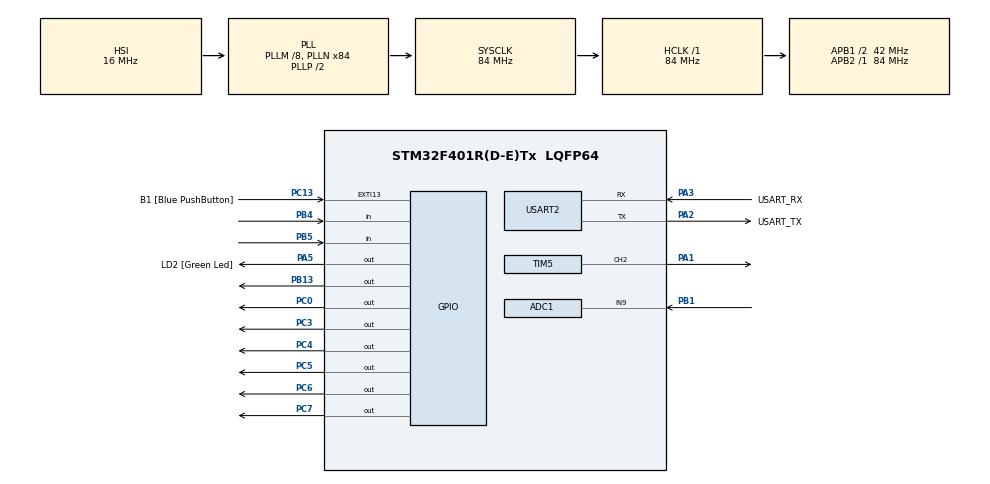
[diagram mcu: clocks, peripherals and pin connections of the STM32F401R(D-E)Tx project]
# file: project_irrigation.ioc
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ADC1.Channel-5\#ChannelRegularConversion=ADC_CHANNEL_9
ADC1.NbrOfConversionFlag=1
ADC1.Rank-5\#ChannelRegularConversion=1
ADC1.SamplingTime-5\#ChannelRegularConversion=ADC_SAMPLETIME_3CYCLES
ADC1.master=1
Mcu.Family=STM32F4
Mcu.Name=STM32F401R(D-E)Tx
Mcu.Package=LQFP64
NVIC.PriorityGroup=NVIC_PRIORITYGROUP_4
PA1.Signal=S_TIM5_CH2
PA13.GPIO_Label=TMS
PA13.Mode=Serial_Wire
PA13.Signal=SYS_JTMS-SWDIO
PA14.GPIO_Label=TCK
PA14.Mode=Serial_Wire
PA14.Signal=SYS_JTCK-SWCLK
PA2.GPIO_Label=USART_TX
PA2.GPIO_Mode=GPIO_MODE_AF_PP
PA2.GPIO_PuPd=GPIO_NOPULL
PA2.GPIO_Speed=GPIO_SPEED_FREQ_LOW
PA2.Mode=Asynchronous
PA2.Signal=USART2_TX
PA3.GPIO_Label=USART_RX
PA3.GPIO_Mode=GPIO_MODE_AF_PP
PA3.GPIO_PuPd=GPIO_NOPULL
PA3.GPIO_Speed=GPIO_SPEED_FREQ_LOW
PA3.Mode=Asynchronous
PA3.Signal=USART2_RX
PA5.GPIO_Label=LD2 [Green Led]
PA5.GPIO_Mode=GPIO_MODE_OUTPUT_PP
PA5.GPIO_PuPd=GPIO_NOPULL
PA5.GPIO_Speed=GPIO_SPEED_FREQ_LOW
PA5.Signal=GPIO_Output
PB1.Signal=ADCx_IN9
PB13.Signal=GPIO_Output
PB3.Signal=SYS_JTDO-SWO
PB4.Signal=GPIO_Input
PB5.Signal=GPIO_Input
PC0.GPIO_ModeDefaultOutputPP=GPIO_MODE_OUTPUT_PP
PC0.PinState=GPIO_PIN_RESET
PC0.Signal=GPIO_Output
PC13-ANTI_TAMP.GPIO_Label=B1 [Blue PushButton]
PC13-ANTI_TAMP.GPIO_ModeDefaultEXTI=GPIO_MODE_IT_FALLING
PC13-ANTI_TAMP.GPIO_PuPd=GPIO_NOPULL
PC13-ANTI_TAMP.Signal=GPXTI13
PC14-OSC32_IN.Mode=LSE-External-Oscillator
PC14-OSC32_IN.Signal=RCC_OSC32_IN
PC15-OSC32_OUT.Mode=LSE-External-Oscillator
PC15-OSC32_OUT.Signal=RCC_OSC32_OUT
PC3.Signal=GPIO_Output
PC4.Signal=GPIO_Output
PC5.Signal=GPIO_Output
PC6.Signal=GPIO_Output
PC7.Signal=GPIO_Output
PH0\ -\ OSC_IN.Mode=HSE-External-Clock-Source
PH0\ -\ OSC_IN.Signal=RCC_OSC_IN
PH1\ -\ OSC_OUT.Mode=HSE-External-Clock-Source
PH1\ -\ OSC_OUT.Signal=RCC_OSC_OUT
ProjectManager.HeapSize=0x200
ProjectManager.StackSize=0x400
ProjectManager.TargetToolchain=STM32CubeIDE
RCC.48MHZClocksFreq_Value=24000000
RCC.AHBFreq_Value=84000000
RCC.APB1CLKDivider=RCC_HCLK_DIV2
RCC.APB1Freq_Value=42000000
RCC.APB1TimFreq_Value=84000000
RCC.APB2Freq_Value=84000000
RCC.APB2TimFreq_Value=84000000
RCC.CortexFreq_Value=84000000
RCC.HCLKFreq_Value=84000000
RCC.HSE_VALUE=8000000
RCC.HSI_VALUE=16000000
RCC.PLLM=8
RCC.PLLN=84
RCC.PLLQ=7
RCC.SYSCLKFreq_VALUE=84000000
RCC.SYSCLKSource=RCC_SYSCLKSOURCE_PLLCLK
RCC.VCOOutputFreq_Value=168000000
SH.ADCx_IN9.0=ADC1_IN9,IN9
SH.S_TIM5_CH2.0=TIM5_CH2,PWM Generation2 CH2
TIM2.Period=100000-1
TIM2.Prescaler=8400-1
TIM5.Channel-PWM\ Generation2\ CH2=TIM_CHANNEL_2
TIM5.Period=10000-1
TIM5.Prescaler=84-1
USART2.VirtualMode=VM_ASYNC
VP_TIM2_VS_ClockSourceINT.Mode=Internal
VP_TIM5_VS_ClockSourceINT.Mode=Internal
board=NUCLEO-F401RE

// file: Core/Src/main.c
/* USER CODE BEGIN Header */
/**
  ******************************************************************************
  * @file           : main.c
  * @brief          : Main program body
  ******************************************************************************
  * @attention
  *
  * Copyright (c) 2022 STMicroelectronics.
  * All rights reserved.
  *
  * This software is licensed under terms that can be found in the LICENSE file
  * in the root directory of this software component.
  * If no LICENSE file comes with this software, it is provided AS-IS.
  *
  ******************************************************************************
  */
/* USER CODE END Header */
#include "main.h"

/* USER CODE BEGIN PD */

//Primary Functions
uint16_t Request_Moisture_Data( void );
void Average_Moisture_Data( double*, char, uint16_t );
void Adjustor_Change( const uint16_t, char *, const char );
uint16_t Request_Moisture_Threshold( const char led_pin );
char Moisture_Level_Vs_Threshold( uint16_t, uint16_t );
void Open_Motor();

//Helper Functions
void Set_LED_Pin( char, GPIO_PinState );
char Increment_Timer( char );

/* USER CODE END PD */

/* USER CODE BEGIN PM */

#define ADD_LED(a) ((a < 4) ? 1 : 0)
#define MINUS_LED(a) ((a > 0) ? -1 : 0)

#define TIME_CHECK(a,b,c) (a >= b && a < c)

/* USER CODE END PM */

ADC_HandleTypeDef hadc1;

TIM_HandleTypeDef htim2;
TIM_HandleTypeDef htim5;

UART_HandleTypeDef huart2;

/* USER CODE BEGIN PV */

/* 	Maximum available total moisture value to calculate moisture percentage
 	Calculated by (Max Volt / Nominal Reference) * 4092
 	Pin out Max Voltage, through testing, is about 2.2 volts
 	Nominal Reference Voltage is around 2.0~2.5 */
const short MAX_MOISTURE = 2700;

//	Calculates and stores how much time has passed
uint32_t time_passed = 0;
//	Holds a value between [0, 240): unit is 0.5s
short time_count = 0;

// 	Represents button presses using boolean values.
char b_left_on = 0;
char b_right_on = 0;
// 	Represents what LED should be on for moisture sensor.
char led_light = 2;

// 	Used to calculate average in O(1) memory
char average_size = 0;
short average_tick = 0;
double soil_moisture = 0;

// 	A boolean-type value to test if the MCU is polling the moisture sensor
char is_polling = 0;

/* USER CODE END PV */

void SystemClock_Config(void);
static void MX_GPIO_Init(void);
static void MX_USART2_UART_Init(void);
static void MX_TIM2_Init(void);
static void MX_ADC1_Init(void);
static void MX_TIM5_Init(void);

/* USER CODE BEGIN 0 */

/** @function	Request_Moisture_Data
 *
 * 	@brief	Uses ADC driver to poll and return the value of the ADC IN9 pin
 *
 * 	@return ADC IN9 pin input
 */
uint16_t Request_Moisture_Data()
{
	HAL_ADC_Start( &hadc1 );
	HAL_ADC_PollForConversion( &hadc1, HAL_MAX_DELAY );
	return HAL_ADC_GetValue( &hadc1 );
}

/** @function	Average_Moisture_Data
 *
 * 	@brief	Updates the average parameter given it's current size and new value
 * 			without storing into an array
 *
 *  @param[in/out]	average 	Average value being manipulated
 *	@param[in]		size		Number of variables currently averaged
 *	@param[in]		newVal		New value to be added to average
 *
 *	@retval None
 */
void Average_Moisture_Data( double *average, char size, uint16_t newVal )
{
	(*average) += (newVal - (*average)) / size;
}

/** @function	Adjustor_Change
 *
 * 	@brief	Generalizes the code to turn on and off LED values based on button
 * 			inputs by passing certain variables through pointers.
 *
 *  @param[in]		BUTTON_PIN 	Holds the GPIO pin of the button
 *	@param[in/out]	b_on		Used to only activate code on button's first press
 *	@param[in]		increase	Determines if led_light is increased or deceased.
 *
 *	@retval None
 */
void Adjustor_Change( const uint16_t BUTTON_PIN, char *b_on, const char increase )
{
	//	If button is being pressed for the first time,
	if( !HAL_GPIO_ReadPin( GPIOB, BUTTON_PIN ) && !(*b_on) )
	{
		//	Set button as being pressed
		*b_on = 1;

		//	Reset current pin
		Set_LED_Pin( led_light, GPIO_PIN_RESET );

		//	Change led_light according to increase variable
		led_light += (increase ? ADD_LED( led_light ) : MINUS_LED( led_light ));

		//	Sets new led pin on
		Set_LED_Pin( led_light, GPIO_PIN_SET );
	}
	//	If button is released, set b_on as being off.
	else if( HAL_GPIO_ReadPin( GPIOB, BUTTON_PIN ) )
	{
		*b_on = 0;
	}
}

/** @function	Request_Moisture_Threshold
 *
 * 	@brief	Given the LED pin representative number (from led_light)
 * 			returns the corresponding moisture value to compare with
 *
 *  @param	led_pin		What LED pin is on
 *
 *	@retval Exact moisture threshold determined by LED_Pin
 */
uint16_t Request_Moisture_Threshold( const char led_pin )
{
	return MAX_MOISTURE*(2 + led_pin)/10;
}

/** @function	Moisture_Level_Vs_Threshold
 *
 * 	@brief	Compares moisture level and threshold and returns a value to
 * 			give for that.
 *
 *  @param 	moisture	The average moisture value from the moisture sensor
 *	@param	threshold	The threshold value that the LED currently represents
 *
 *	@retval Boolean value that equals if moisture is below threshold
 */
char Moisture_Level_Vs_Threshold( uint16_t moisture, uint16_t threshold )
{
	return (char)((int)moisture < threshold );
}

/** @function	Set_Motor
 *
 * 	@brief	Sets the motor at either 0 or 180 degrees given the open
 * 			variable. Uses the PWM signal generator to achieve this.
 *
 * 			Prescaler: 168-1 	=> 	84 000 000 / 168 = 500 000
 * 			Frequency: 10000-1 	=> 	500 000 / 10000 = 50hz
 * 			[500, 1000]
 *
 *  @param	open 	Determines if the motor should be on of off.
 *
 *	@retval None
 */
void Set_Motor( char open )
{
	if( open )
	{
		__HAL_TIM_SET_COMPARE( &htim5, TIM_CHANNEL_2, 2100 );
	}
	else
	{
		__HAL_TIM_SET_COMPARE( &htim5, TIM_CHANNEL_2, 500 );
	}
}

/** @function	Set_LED_Pin
 *
 * 	@brief	Given a value from [0, 4], sets the representing LED pin
 * 			to the given pin state.
 *
 *  @param	led_pin 	Holds a numerical representation of LED pins
 *	@param	state		The new state of the led_pin
 *
 *	@retval None
 */
void Set_LED_Pin( const char led_pin, GPIO_PinState state )
{
	//	Throws error if value (led_pin) is not in correct range
	assert_param( led_pin >= 0 && led_pin <= 4 );

	switch( led_pin ) {
		case 0:
			HAL_GPIO_WritePin( GPIOC, GPIO_PIN_7, state );
			break;
		case 1:
			HAL_GPIO_WritePin( GPIOC, GPIO_PIN_6, state );
			break;
		case 2:
			HAL_GPIO_WritePin( GPIOC, GPIO_PIN_5, state );
			break;
		case 3:
			HAL_GPIO_WritePin( GPIOC, GPIO_PIN_4, state );
			break;
		case 4:
			HAL_GPIO_WritePin( GPIOC, GPIO_PIN_3, state );
			break;
	}
}

/** @function	Increment_Timer
 *
 * 	@brief	Uses TIM to determine when to increment the timer_count
 * 			variable every 0.5 seconds.
 *
 *  @param	poll 	Used to flicker on-board LED when polling occurs
 *
 *	@retval 1 if 0.5 seconds have passed, 0 if it hasn't.
 */
char Increment_Timer( char poll ){
	if( __HAL_TIM_GET_COUNTER( &htim2 ) - time_passed >= 5000)
	{
		if( poll )
		{
			HAL_GPIO_TogglePin( GPIOA, GPIO_PIN_5 );
		}

		//	Resets time_passed if it goes beyond the TIM's full period
		time_passed = __HAL_TIM_GET_COUNTER( &htim2 );
		if( time_passed >= htim2.Init.Period )
		{
			time_passed = 0;
		}
		return 1;
	}
	return 0;
}

/* USER CODE END 0 */

int main(void)
{

  /* MCU Configuration--------------------------------------------------------*/

  /* Reset of all peripherals, Initializes the Flash interface and the Systick. */
  HAL_Init();

  /* Configure the system clock */
  SystemClock_Config();

  /* Initialize all configured peripherals */
  MX_GPIO_Init();
  MX_USART2_UART_Init();
  MX_TIM2_Init();
  MX_ADC1_Init();
  MX_TIM5_Init();
  /* USER CODE BEGIN 2 */

  //	Set default light to be set
  Set_LED_Pin( led_light, GPIO_PIN_SET );

  //	Timer start
  HAL_TIM_Base_Start( &htim2 );

  //	Start PWM signal creation
  HAL_TIM_PWM_Start( &htim5, TIM_CHANNEL_2 );
  Set_Motor( 0 );

  //	Get current time
  time_passed = __HAL_TIM_GET_COUNTER( &htim2 );

  /* USER CODE END 2 */

  /* Infinite loop */
  /* USER CODE BEGIN WHILE */
  while (1)
  {
	  //	Checks if buttons are being pressed and changes on LED pin
	  Adjustor_Change( GPIO_PIN_4, &b_left_on, 0 );
	  Adjustor_Change( GPIO_PIN_5, &b_right_on, 1 );

	  //	If enough time has passed (1 second), toggle LED and add a 1 to the timer variable
	  time_count += Increment_Timer( is_polling );

	  //	time_count [0, 60) => activate valve IF moisture is below threshold
	  //	time_count [60, 120) => nothing happens
	  //	time_count [120, 180) => poll moisture sensor
	  if( time_count == 60 )
	  {
		  Set_Motor( 0 );
	  }
	  else if ( TIME_CHECK( time_count, 120, 180 ) )
	  {
		  if( time_count == 120 )
		  {
			  //	Initalizes polling process
			  is_polling = 1;
			  soil_moisture = 0;
			  average_tick = 120;
			  average_size = 0;
			  HAL_GPIO_WritePin( GPIOC, GPIO_PIN_0, GPIO_PIN_SET );
		  }
		  //	Calculates running moisture average
		  if(time_count - average_tick >= 1)
		  {
			  average_tick = time_count;
			  uint16_t cur_moist = Request_Moisture_Data();
			  Average_Moisture_Data( &soil_moisture, ++average_size, cur_moist );
		  }
	  }
	  else if( time_count >= 180 )
	  {
		  //	Resets timer and stops polling process.
		  HAL_GPIO_WritePin( GPIOC, GPIO_PIN_0, GPIO_PIN_RESET );
		  is_polling = 0;
		  time_count = 0;

		  Set_Motor( Moisture_Level_Vs_Threshold( soil_moisture, Request_Moisture_Threshold( led_light ) ) );
	  }

	  HAL_Delay(1);

    /* USER CODE END WHILE */

  }
}

void SystemClock_Config(void)
{
  RCC_OscInitTypeDef RCC_OscInitStruct = {0};
  RCC_ClkInitTypeDef RCC_ClkInitStruct = {0};

  /** Configure the main internal regulator output voltage
  */
  __HAL_RCC_PWR_CLK_ENABLE();
  __HAL_PWR_VOLTAGESCALING_CONFIG(PWR_REGULATOR_VOLTAGE_SCALE2);

  /** Initializes the RCC Oscillators according to the specified parameters
  * in the RCC_OscInitTypeDef structure.
  */
  RCC_OscInitStruct.OscillatorType = RCC_OSCILLATORTYPE_HSI;
  RCC_OscInitStruct.HSIState = RCC_HSI_ON;
  RCC_OscInitStruct.HSICalibrationValue = RCC_HSICALIBRATION_DEFAULT;
  RCC_OscInitStruct.PLL.PLLState = RCC_PLL_ON;
  RCC_OscInitStruct.PLL.PLLSource = RCC_PLLSOURCE_HSI;
  RCC_OscInitStruct.PLL.PLLM = 8;
  RCC_OscInitStruct.PLL.PLLN = 84;
  RCC_OscInitStruct.PLL.PLLP = RCC_PLLP_DIV2;
  RCC_OscInitStruct.PLL.PLLQ = 7;
  if (HAL_RCC_OscConfig(&RCC_OscInitStruct) != HAL_OK)
  {
    Error_Handler();
  }

  /** Initializes the CPU, AHB and APB buses clocks
  */
  RCC_ClkInitStruct.ClockType = RCC_CLOCKTYPE_HCLK|RCC_CLOCKTYPE_SYSCLK
                              |RCC_CLOCKTYPE_PCLK1|RCC_CLOCKTYPE_PCLK2;
  RCC_ClkInitStruct.SYSCLKSource = RCC_SYSCLKSOURCE_PLLCLK;
  RCC_ClkInitStruct.AHBCLKDivider = RCC_SYSCLK_DIV1;
  RCC_ClkInitStruct.APB1CLKDivider = RCC_HCLK_DIV2;
  RCC_ClkInitStruct.APB2CLKDivider = RCC_HCLK_DIV1;

  if (HAL_RCC_ClockConfig(&RCC_ClkInitStruct, FLASH_LATENCY_2) != HAL_OK)
  {
    Error_Handler();
  }
}

static void MX_ADC1_Init(void)
{

  ADC_ChannelConfTypeDef sConfig = {0};

  /** Configure the global features of the ADC (Clock, Resolution, Data Alignment and number of conversion)
  */
  hadc1.Instance = ADC1;
  hadc1.Init.ClockPrescaler = ADC_CLOCK_SYNC_PCLK_DIV4;
  hadc1.Init.Resolution = ADC_RESOLUTION_12B;
  hadc1.Init.ScanConvMode = DISABLE;
  hadc1.Init.ContinuousConvMode = DISABLE;
  hadc1.Init.DiscontinuousConvMode = DISABLE;
  hadc1.Init.ExternalTrigConvEdge = ADC_EXTERNALTRIGCONVEDGE_NONE;
  hadc1.Init.ExternalTrigConv = ADC_SOFTWARE_START;
  hadc1.Init.DataAlign = ADC_DATAALIGN_RIGHT;
  hadc1.Init.NbrOfConversion = 1;
  hadc1.Init.DMAContinuousRequests = DISABLE;
  hadc1.Init.EOCSelection = ADC_EOC_SINGLE_CONV;
  if (HAL_ADC_Init(&hadc1) != HAL_OK)
  {
    Error_Handler();
  }

  /** Configure for the selected ADC regular channel its corresponding rank in the sequencer and its sample time.
  */
  sConfig.Channel = ADC_CHANNEL_9;
  sConfig.Rank = 1;
  sConfig.SamplingTime = ADC_SAMPLETIME_3CYCLES;
  if (HAL_ADC_ConfigChannel(&hadc1, &sConfig) != HAL_OK)
  {
    Error_Handler();
  }

}

static void MX_TIM2_Init(void)
{

  TIM_ClockConfigTypeDef sClockSourceConfig = {0};
  TIM_MasterConfigTypeDef sMasterConfig = {0};

  htim2.Instance = TIM2;
  htim2.Init.Prescaler = 8400-1;
  htim2.Init.CounterMode = TIM_COUNTERMODE_UP;
  htim2.Init.Period = 100000-1;
  htim2.Init.ClockDivision = TIM_CLOCKDIVISION_DIV1;
  htim2.Init.AutoReloadPreload = TIM_AUTORELOAD_PRELOAD_DISABLE;
  if (HAL_TIM_Base_Init(&htim2) != HAL_OK)
  {
    Error_Handler();
  }
  sClockSourceConfig.ClockSource = TIM_CLOCKSOURCE_INTERNAL;
  if (HAL_TIM_ConfigClockSource(&htim2, &sClockSourceConfig) != HAL_OK)
  {
    Error_Handler();
  }
  sMasterConfig.MasterOutputTrigger = TIM_TRGO_RESET;
  sMasterConfig.MasterSlaveMode = TIM_MASTERSLAVEMODE_DISABLE;
  if (HAL_TIMEx_MasterConfigSynchronization(&htim2, &sMasterConfig) != HAL_OK)
  {
    Error_Handler();
  }

}

static void MX_TIM5_Init(void)
{

  TIM_ClockConfigTypeDef sClockSourceConfig = {0};
  TIM_MasterConfigTypeDef sMasterConfig = {0};
  TIM_OC_InitTypeDef sConfigOC = {0};

  htim5.Instance = TIM5;
  htim5.Init.Prescaler = 84-1;
  htim5.Init.CounterMode = TIM_COUNTERMODE_UP;
  htim5.Init.Period = 10000-1;
  htim5.Init.ClockDivision = TIM_CLOCKDIVISION_DIV1;
  htim5.Init.AutoReloadPreload = TIM_AUTORELOAD_PRELOAD_DISABLE;
  if (HAL_TIM_Base_Init(&htim5) != HAL_OK)
  {
    Error_Handler();
  }
  sClockSourceConfig.ClockSource = TIM_CLOCKSOURCE_INTERNAL;
  if (HAL_TIM_ConfigClockSource(&htim5, &sClockSourceConfig) != HAL_OK)
  {
    Error_Handler();
  }
  if (HAL_TIM_PWM_Init(&htim5) != HAL_OK)
  {
    Error_Handler();
  }
  sMasterConfig.MasterOutputTrigger = TIM_TRGO_RESET;
  sMasterConfig.MasterSlaveMode = TIM_MASTERSLAVEMODE_DISABLE;
  if (HAL_TIMEx_MasterConfigSynchronization(&htim5, &sMasterConfig) != HAL_OK)
  {
    Error_Handler();
  }
  sConfigOC.OCMode = TIM_OCMODE_PWM1;
  sConfigOC.Pulse = 0;
  sConfigOC.OCPolarity = TIM_OCPOLARITY_HIGH;
  sConfigOC.OCFastMode = TIM_OCFAST_DISABLE;
  if (HAL_TIM_PWM_ConfigChannel(&htim5, &sConfigOC, TIM_CHANNEL_2) != HAL_OK)
  {
    Error_Handler();
  }
  HAL_TIM_MspPostInit(&htim5);

}

static void MX_USART2_UART_Init(void)
{

  huart2.Instance = USART2;
  huart2.Init.BaudRate = 115200;
  huart2.Init.WordLength = UART_WORDLENGTH_8B;
  huart2.Init.StopBits = UART_STOPBITS_1;
  huart2.Init.Parity = UART_PARITY_NONE;
  huart2.Init.Mode = UART_MODE_TX_RX;
  huart2.Init.HwFlowCtl = UART_HWCONTROL_NONE;
  huart2.Init.OverSampling = UART_OVERSAMPLING_16;
  if (HAL_UART_Init(&huart2) != HAL_OK)
  {
    Error_Handler();
  }

}

static void MX_GPIO_Init(void)
{
  GPIO_InitTypeDef GPIO_InitStruct = {0};

  /* GPIO Ports Clock Enable */
  __HAL_RCC_GPIOC_CLK_ENABLE();
  __HAL_RCC_GPIOH_CLK_ENABLE();
  __HAL_RCC_GPIOA_CLK_ENABLE();
  __HAL_RCC_GPIOB_CLK_ENABLE();

  /*Configure GPIO pin Output Level */
  HAL_GPIO_WritePin(GPIOC, GPIO_PIN_0|GPIO_PIN_3|GPIO_PIN_4|GPIO_PIN_5
                          |GPIO_PIN_6|GPIO_PIN_7, GPIO_PIN_RESET);

  /*Configure GPIO pin Output Level */
  HAL_GPIO_WritePin(LD2_GPIO_Port, LD2_Pin, GPIO_PIN_RESET);

  /*Configure GPIO pin Output Level */
  HAL_GPIO_WritePin(GPIOB, GPIO_PIN_13, GPIO_PIN_RESET);

  /*Configure GPIO pin : B1_Pin */
  GPIO_InitStruct.Pin = B1_Pin;
  GPIO_InitStruct.Mode = GPIO_MODE_IT_FALLING;
  GPIO_InitStruct.Pull = GPIO_NOPULL;
  HAL_GPIO_Init(B1_GPIO_Port, &GPIO_InitStruct);

  /*Configure GPIO pins : PC0 PC3 PC4 PC5
                           PC6 PC7 */
  GPIO_InitStruct.Pin = GPIO_PIN_0|GPIO_PIN_3|GPIO_PIN_4|GPIO_PIN_5
                          |GPIO_PIN_6|GPIO_PIN_7;
  GPIO_InitStruct.Mode = GPIO_MODE_OUTPUT_PP;
  GPIO_InitStruct.Pull = GPIO_NOPULL;
  GPIO_InitStruct.Speed = GPIO_SPEED_FREQ_LOW;
  HAL_GPIO_Init(GPIOC, &GPIO_InitStruct);

  /*Configure GPIO pin : LD2_Pin */
  GPIO_InitStruct.Pin = LD2_Pin;
  GPIO_InitStruct.Mode = GPIO_MODE_OUTPUT_PP;
  GPIO_InitStruct.Pull = GPIO_NOPULL;
  GPIO_InitStruct.Speed = GPIO_SPEED_FREQ_LOW;
  HAL_GPIO_Init(LD2_GPIO_Port, &GPIO_InitStruct);

  /*Configure GPIO pin : PB13 */
  GPIO_InitStruct.Pin = GPIO_PIN_13;
  GPIO_InitStruct.Mode = GPIO_MODE_OUTPUT_PP;
  GPIO_InitStruct.Pull = GPIO_NOPULL;
  GPIO_InitStruct.Speed = GPIO_SPEED_FREQ_LOW;
  HAL_GPIO_Init(GPIOB, &GPIO_InitStruct);

  /*Configure GPIO pins : PB4 PB5 */
  GPIO_InitStruct.Pin = GPIO_PIN_4|GPIO_PIN_5;
  GPIO_InitStruct.Mode = GPIO_MODE_INPUT;
  GPIO_InitStruct.Pull = GPIO_NOPULL;
  HAL_GPIO_Init(GPIOB, &GPIO_InitStruct);

}

/* USER CODE BEGIN 4 */
int _write(int file, char *ptr, int len)
{
	int Idx;
	for(Idx = 0; Idx<len; Idx++)
	{
		ITM_SendChar(*ptr++);
	}
	return len;
}

/* USER CODE END 4 */

void Error_Handler(void)
{
  __disable_irq();
  while (1)
  {
  }
}
